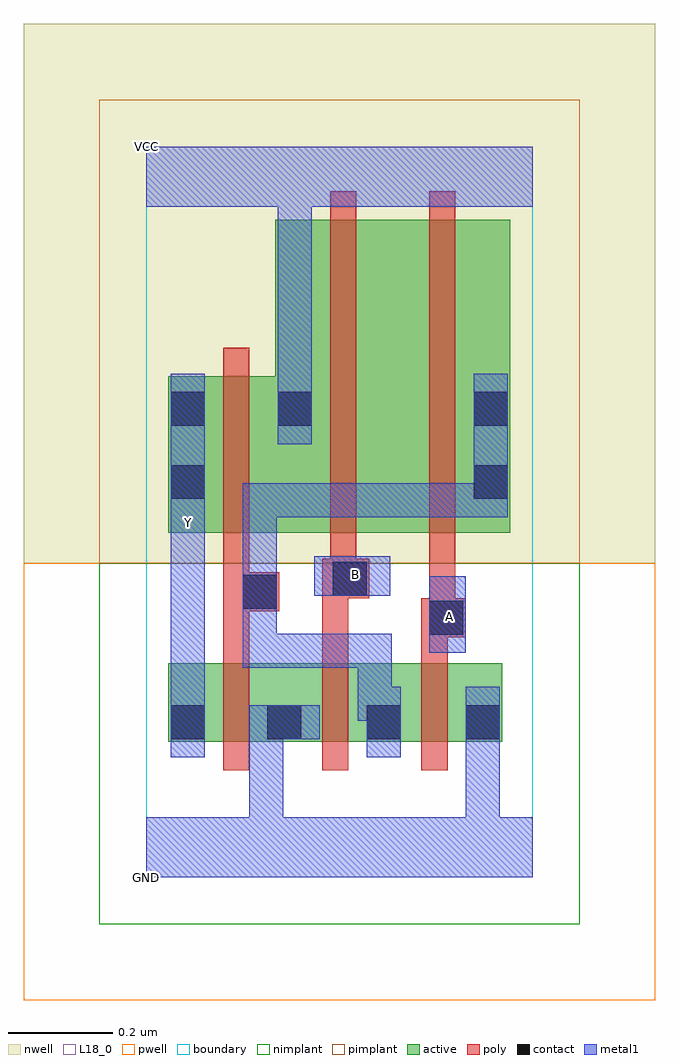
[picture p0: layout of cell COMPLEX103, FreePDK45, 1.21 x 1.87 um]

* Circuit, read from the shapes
.subckt COMPLEX103 A B GND VCC Y
M1 GND n1 Y VSUBS nfet w=0.15u l=0.05u
M2 n1 B GND VSUBS nfet w=0.15u l=0.05u
M3 GND A n1 VSUBS nfet w=0.15u l=0.05u
M4 VCC n1 Y n2 pfet w=0.3u l=0.05u
M5 n3 B VCC n2 pfet w=0.6u l=0.05u
M6 n1 A n3 n2 pfet w=0.6u l=0.05u
.ends

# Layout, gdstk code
import gdstk
lib = gdstk.Library(unit=1e-6, precision=1e-09)
def R(c, l, rs):  # rectangles x0, y0, x1, y1
    for r in rs: c.add(gdstk.rectangle(r[:2], r[2:], *l))
def A(c, l, x, y, w, h, nx, ny, dx, dy):  # array of equal rectangles
    R(c, l, [(x+i*dx, y+j*dy, x+i*dx+w, y+j*dy+h) for i in range(nx) for j in range(ny)])
active = (1, 0)
pwell = (2, 0)
nwell = (3, 0)
nimplant = (4, 0)
pimplant = (5, 0)
poly = (9, 0)
contact = (10, 0)
metal1 = (11, 0)
L18_0 = (18, 0)
boundary = (235, 0)

complex103 = lib.new_cell('COMPLEX103')
R(complex103, active, [(0.042,0.26,0.117,0.41), (0.042,0.26,0.302,0.41), (0.227,0.26,0.492,0.41), (0.227,0.26,0.302,0.397), (0.417,0.26,0.492,0.41), (0.417,0.26,0.682,0.41), (0.607,0.26,0.682,0.41), (0.042,0.66,0.322,0.96), (0.042,0.66,0.117,0.957), (0.247,0.66,0.472,1.26), (0.472,0.66,0.697,1.26), (0.622,0.66,0.697,1.2), (0.247,0.722,0.322,1.065)])
R(complex103, pwell, [(-0.235,-0.235,0.975,0.602)])
R(complex103, nwell, [(-0.235,0.602,0.975,1.635)])
R(complex103, nimplant, [(-0.09,-0.09,0.83,0.602)])
R(complex103, pimplant, [(-0.09,0.602,0.83,1.49)])
A(complex103, poly, 0.147, 0.205, 0.05, 0.26, 3, 1, 0.19, 0)
R(complex103, poly, [(0.147,0.415,0.197,0.56), (0.337,0.415,0.387,0.585), (0.527,0.415,0.577,0.51), (0.527,0.46,0.612,0.535), (0.542,0.485,0.592,0.655), (0.147,0.51,0.255,0.585), (0.147,0.535,0.197,0.655), (0.337,0.535,0.427,0.61), (0.352,0.56,0.402,0.655), (0.147,0.605,0.197,1.015), (0.352,0.605,0.402,1.315), (0.542,0.605,0.592,1.315)])
A(complex103, contact, 0.232, 0.265, 0.065, 0.065, 3, 1, 0.19, 0)
R(complex103, contact, [(0.047,0.265,0.112,0.33), (0.542,0.465,0.607,0.53), (0.185,0.515,0.25,0.58), (0.357,0.54,0.422,0.605), (0.047,0.725,0.112,0.79), (0.627,0.725,0.692,0.79), (0.047,0.865,0.112,0.93), (0.252,0.865,0.317,0.93), (0.627,0.865,0.692,0.93)])
R(complex103, metal1, [(0,0,0.74,0.115), (0.197,0.05,0.262,0.115), (0.197,0.05,0.262,0.115), (0.197,0.05,0.262,0.33), (0.612,0.05,0.677,0.115), (0.612,0.05,0.677,0.115), (0.612,0.05,0.677,0.115), (0.612,0.05,0.677,0.115), (0.612,0.05,0.677,0.29), (0.612,0.225,0.677,0.365), (0.047,0.23,0.112,0.365), (0.422,0.23,0.487,0.365), (0.197,0.265,0.262,0.33), (0.197,0.265,0.262,0.33), (0.197,0.265,0.332,0.33), (0.047,0.3,0.112,0.677), (0.405,0.3,0.487,0.365), (0.405,0.3,0.47,0.467), (0.185,0.402,0.25,0.467), (0.185,0.402,0.47,0.467), (0.185,0.402,0.25,0.615), (0.542,0.43,0.612,0.577), (0.185,0.48,0.25,0.615), (0.322,0.54,0.467,0.615), (0.185,0.55,0.25,0.615), (0.185,0.55,0.25,0.615), (0.185,0.55,0.25,0.755), (0.047,0.612,0.112,0.755), (0.047,0.69,0.112,0.755), (0.047,0.69,0.112,0.965), (0.185,0.69,0.25,0.755), (0.185,0.69,0.387,0.755), (0.322,0.69,0.387,0.755), (0.322,0.69,0.387,0.755), (0.322,0.69,0.387,0.755), (0.322,0.69,0.692,0.755), (0.627,0.69,0.692,0.755), (0.627,0.69,0.692,0.755), (0.627,0.69,0.692,0.965), (0.252,0.83,0.317,0.965), (0.252,0.9,0.317,1.35), (0,1.285,0.74,1.4)])
R(complex103, L18_0, [(0,0,0.74,0.115), (0.197,0.05,0.262,0.115), (0.197,0.05,0.262,0.115), (0.197,0.05,0.262,0.33), (0.612,0.05,0.677,0.115), (0.612,0.05,0.677,0.115), (0.612,0.05,0.677,0.115), (0.612,0.05,0.677,0.115), (0.612,0.05,0.677,0.29), (0.612,0.225,0.677,0.365), (0.047,0.23,0.112,0.365), (0.197,0.265,0.262,0.33), (0.197,0.265,0.262,0.33), (0.197,0.265,0.332,0.33), (0.047,0.3,0.112,0.677), (0.542,0.43,0.612,0.577), (0.547,0.467,0.612,0.532), (0.322,0.54,0.467,0.615), (0.367,0.547,0.432,0.612), (0.047,0.612,0.112,0.755), (0.047,0.647,0.112,0.712), (0.047,0.69,0.112,0.965), (0.047,0.69,0.112,0.755), (0.252,0.83,0.317,0.965), (0.252,0.9,0.317,1.35), (0,1.285,0.74,1.4)])
R(complex103, boundary, [(0,0,0.74,1.4)])
complex103.add(gdstk.Label('A', (0.58,0.5), layer=11, texttype=0))
complex103.add(gdstk.Label('B', (0.4,0.58), layer=11, texttype=0))
complex103.add(gdstk.Label('Y', (0.08,0.68), layer=11, texttype=0))
complex103.add(gdstk.Label('VCC', (0,1.4), layer=11, texttype=0))
complex103.add(gdstk.Label('GND', (0,0), layer=11, texttype=0))

lib.write_gds('COMPLEX103.gds')
